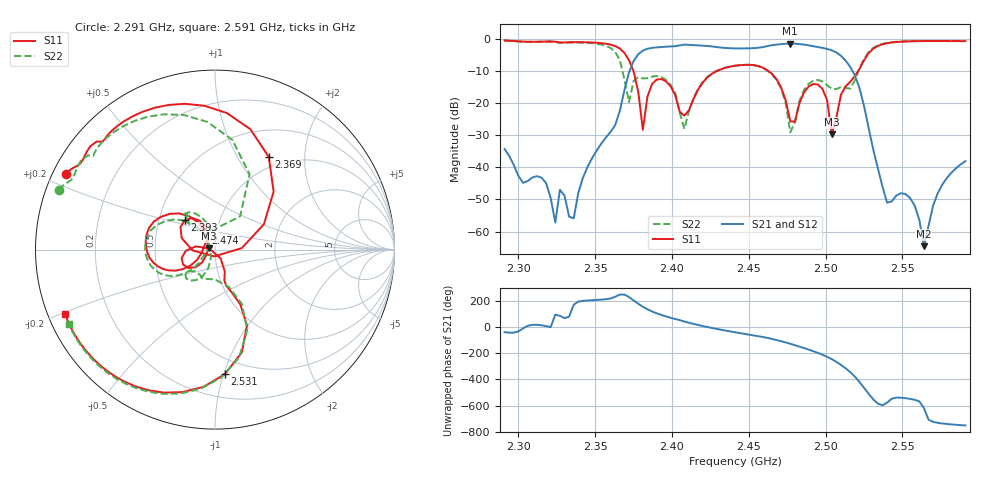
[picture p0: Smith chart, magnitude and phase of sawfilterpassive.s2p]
# GHz S RI R 50
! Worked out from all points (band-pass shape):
!   101 points, 2.291 GHz to 2.591 GHz, reference 50 ohm
!   highest |S21| = -1.57 dB at 2.477 GHz (marker M1); lowest = -64.5 dB at 2.564 GHz (marker M2)
!   |S21| within 3 dB of the highest: 2.379 GHz to 2.508 GHz (128.8 MHz wide, 5.27 % of centre)
!   lowest |S11| = -29.7 dB at 2.504 GHz (marker M3), VSWR 1.07, Z = 46.9 + j0.592 ohm
!   |S11| at or under -10 dB: 2.375 GHz to 2.43 GHz (55.03 MHz wide, 2.29 % of centre); 2.462 GHz to 2.521 GHz (58.87 MHz wide, 2.36 % of centre)
!   |S22| runs from -29.2 to -0.6 dB; largest |S21 - S12| = 1.7e-16
!   S11 on the Smith chart (normalised r, x): 2.291 GHz: 0.04, +0.24; 2.369 GHz: 0.85, +1.36; 2.393 GHz: 0.68, +0.24; 2.474 GHz: 0.88, +0.17; 2.531 GHz: 0.37, -1.01; 2.591 GHz: 0.05, -0.21
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2.291  -0.8325 0.4214  0.0147 -0.0123  0.0147 -0.0123  -0.87 0.3327
2.318  -0.7132 0.5473  0.00564 0.00061  0.00564 0.00061  -0.7628 0.468
2.324  -0.6587 0.6022  -0.000101 0.00138  -0.000101 0.00138  -0.7077 0.5252
2.327  -0.6271 0.6011  0.000439 0.00443  0.000439 0.00443  -0.6788 0.5221
2.336  -0.5741 0.6633  -0.00158 0.000302  -0.00158 0.000302  -0.6329 0.5947
2.342  -0.5025 0.7177  -0.00649 -0.00223  -0.00649 -0.00223  -0.5594 0.6577
2.369  0.2993 0.5168  -0.0621 -0.145  -0.0621 -0.145  0.1401 0.1853
2.381  -0.00424 -0.0379  -0.5824 0.2862  -0.5824 0.2862  -0.15 0.1869
2.393  -0.1666 0.1651  -0.0183 0.737  -0.0183 0.737  -0.1429 0.2083
2.408  -0.0605 0.0184  0.6038 0.5319  0.6038 0.5319  -0.0396 -0.000434
2.441  -0.377 -0.0168  0.5334 -0.4563  0.5334 -0.4563  -0.3733 -0.0632
2.474  -0.0538 0.0956  -0.3965 -0.7293  -0.3965 -0.7293  -0.0567 0.0808
2.477  -0.0381 0.0347  -0.5227 -0.6511  -0.5227 -0.6511  -0.0287 0.0196
2.492  -0.1777 -0.0839  -0.7561 0.0757  -0.7561 0.0757  -0.1385 -0.1732
2.504  -0.032 0.0063  -0.2639 0.6002  -0.2639 0.6002  -0.1118 -0.1207
2.513  0.0523 -0.1723  0.3257 0.3169  0.3257 0.3169  -0.0522 -0.1627
2.531  0.0549 -0.6942  -0.0184 0.00431  -0.0184 0.00431  0.0333 -0.714
2.543  -0.3719 -0.7835  -0.0029 0.000425  -0.0029 0.000425  -0.3695 -0.792
2.555  -0.6062 -0.6722  -0.00328 0.000548  -0.00328 0.000548  -0.5883 -0.6939
2.564  -0.7041 -0.5808  -0.000107 0.000583  -0.000107 0.000583  -0.6821 -0.613
2.573  -0.7665 -0.4981  0.00386 -0.000851  0.00386 -0.000851  -0.7436 -0.5391
2.591  -0.8345 -0.3612  0.0105 -0.00665  0.0105 -0.00665  -0.8142 -0.4153
